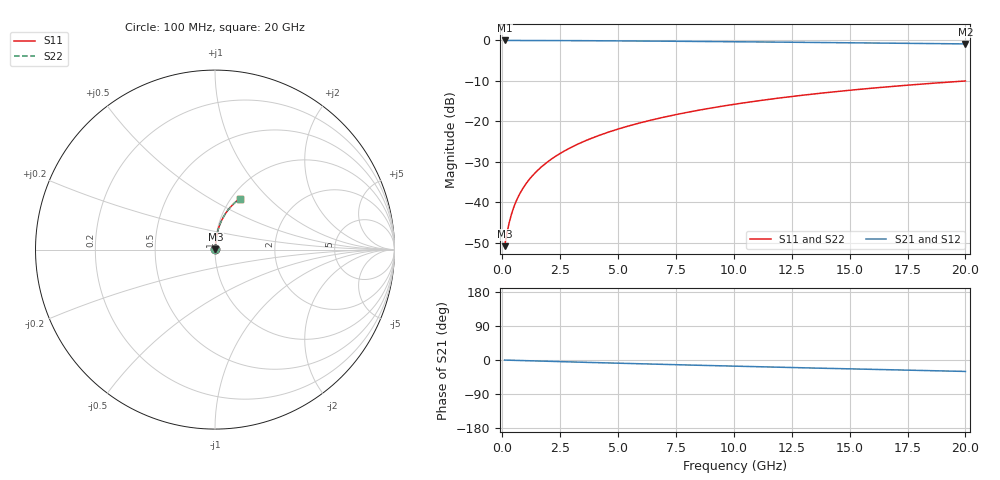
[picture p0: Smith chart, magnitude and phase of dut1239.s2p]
! Touchstone file exported from HFSS 2024.1.0
!  File:  C:/UserFiles/LocalFiles/RDL_TSV_Batchsim/temp_RDL_bottom_1239_1780244918.aedt
!  Generated:  12:30:54 AM Jun  1, 2026
!  Design:  RDL_bottom
!  Project:  temp_RDL_bottom_1239_1780244918
!  Setup:  Setup1
!  Solution:  Sweep
! Variables:
!  dtsv = 10.80580581um
!  hbump = 3um
!  htsv = 99.01um
!  ldown = 409.26um
!  lrdl = 100um
!  p = 40
!  p1 = 43.73um
!  rhole = 1um
!  t = 450um
!  tdown = 4.06um
!  trdl = 3.915915916um
!  wdown = 16.48um
!  wrdl = 20um
# GHz S MA R 50.000000
! Terminal data exported
! Port[1] = RDL1_T1
! Port[2] = RDL1_T2
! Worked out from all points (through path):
!   200 points, 100 MHz to 20 GHz, reference 50 ohm
!   highest |S21| = -0.02 dB at 100 MHz (marker M1); lowest = -0.9 dB at 20 GHz (marker M2)
!   group delay of S21, straight-line fit = 4.17 ps
!   lowest |S11| = -50.8 dB at 100 MHz (marker M3), VSWR 1.01, Z = 50.2 + j0.171 ohm
!   |S11| at or under -10 dB: start of sweep to end of sweep
!   |S22| runs from -50.8 to -10.0 dB; largest |S21 - S12| = 3.4e-15
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0.1  0.002869 36.5  0.9977 -0.2  0.9977 -0.2  0.002869 36.5
! Gamma 0 0 0 0
! Port Impedance 50 0 50 0
0.2  0.004136 55.3  0.9976 -0.4  0.9976 -0.4  0.004136 55.3
0.3  0.005624 64.5  0.9975 -0.5  0.9975 -0.5  0.005624 64.5
0.4  0.007178 69.6  0.9974 -0.7  0.9974 -0.7  0.007178 69.6
0.5  0.008749 72.8  0.9973 -0.9  0.9973 -0.9  0.008748 72.8
0.6  0.01032 74.9  0.9972 -1.1  0.9972 -1.1  0.01032 74.9
0.8  0.01345 77.7  0.997 -1.4  0.997 -1.4  0.01345 77.7
1.1  0.01814 80.1  0.9967 -1.9  0.9967 -1.9  0.01814 80.1
1.5  0.02439 81.9  0.9961 -2.6  0.9961 -2.6  0.02439 81.9
1.8  0.0291 82.6  0.9956 -3.1  0.9956 -3.1  0.0291 82.6
2.1  0.03382 83.1  0.995 -3.6  0.995 -3.6  0.03382 83.1
2.7  0.04332 83.5  0.9937 -4.6  0.9937 -4.6  0.04332 83.5
3.5  0.05608 83.5  0.9914 -6.0  0.9914 -6.0  0.05608 83.5
4.2  0.06733 83.3  0.9891 -7.1  0.9891 -7.1  0.06733 83.3
5  0.08026 82.8  0.9861 -8.5  0.9861 -8.5  0.08027 82.8
5.9  0.0949 82.1  0.9823 -9.9  0.9823 -9.9  0.09491 82.1
6.8  0.1096 81.2  0.9783 -11.3  0.9783 -11.3  0.1096 81.2
8.4  0.1359 79.5  0.9705 -13.8  0.9705 -13.8  0.1359 79.5
10.1  0.1637 77.4  0.9617 -16.4  0.9617 -16.4  0.1638 77.4
13.4  0.2169 73.1  0.9435 -21.2  0.9435 -21.2  0.217 73.1
16.7  0.2677 68.6  0.9243 -25.7  0.9243 -25.7  0.2678 68.6
20  0.3153 64.1  0.9043 -30.2  0.9043 -30.2  0.3153 64.1
